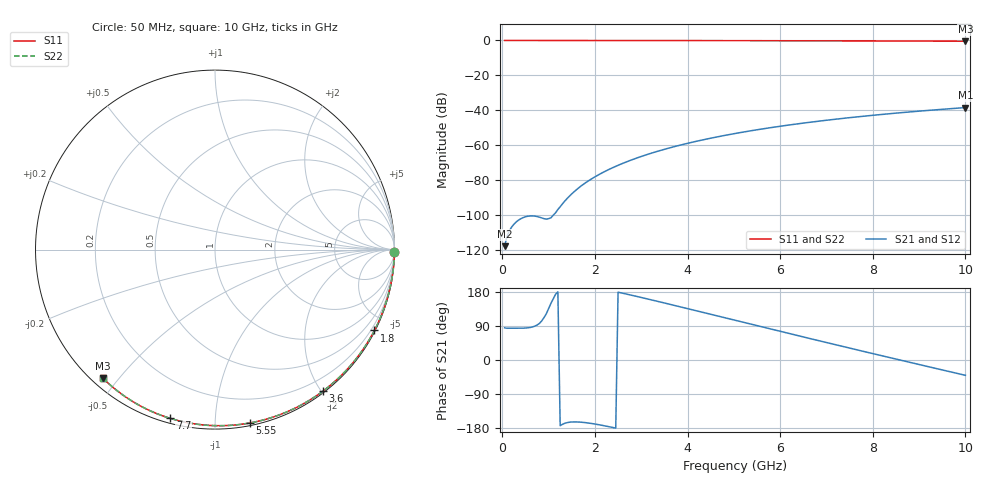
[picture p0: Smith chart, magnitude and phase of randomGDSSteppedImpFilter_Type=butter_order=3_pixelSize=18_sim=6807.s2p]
! freq	dB(S11)	phase(S11)	dB(S12)	phase(S12)
!  dB(S21)	phase(S21)	dB(S22)	phase(S22)
!S-par simulation data
#  GHz  S  DB  R 50
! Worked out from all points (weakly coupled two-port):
!   200 points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, 50 MHz to 10 GHz, reference 50 ohm
!   highest |S21| = -38.44 dB at 10 GHz (marker M1); lowest = -117.8 dB at 50 MHz (marker M2)
!   lowest |S11| = -0.4 dB at 10 GHz (marker M3), VSWR 39.19, Z = 1.54 - j22.7 ohm
!   |S11| at or under -10 dB: nowhere
!   |S22| runs from -0.4 to 0.0 dB; largest |S21 - S12| = 0
!   S11 on the Smith chart (normalised r, x): 50 MHz: open; 1.8 GHz: 0.04, -4.18; 3.6 GHz: 0.02, -2.02; 5.55 GHz: 0.02, -1.22; 7.7 GHz: 0.02, -0.77; 10 GHz: 0.03, -0.45
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0.05  -0.00 -0.8  -117.76 84.9  -117.76 84.9  -0.00 -0.8
0.9  -0.02 -13.6  -102.01 111.8  -102.01 111.8  -0.02 -13.6
1.75  -0.03 -26.2  -82.36 -164.7  -82.36 -164.7  -0.03 -26.2
1.8  -0.03 -26.9  -81.43 -165.3  -81.43 -165.3  -0.03 -26.9
1.85  -0.04 -27.6  -80.54 -166.1  -80.54 -166.1  -0.04 -27.6
1.9  -0.04 -28.3  -79.68 -167.0  -79.68 -167.0  -0.04 -28.3
2.05  -0.04 -30.5  -77.31 -170.0  -77.31 -170.0  -0.04 -30.5
2.25  -0.04 -33.4  -74.51 -174.7  -74.51 -174.7  -0.04 -33.4
2.45  -0.05 -36.3  -72.04 -179.7  -72.04 -179.7  -0.05 -36.3
2.65  -0.05 -39.2  -69.82 174.9  -69.82 174.9  -0.05 -39.2
3  -0.06 -44.2  -66.41 165.1  -66.41 165.1  -0.06 -44.2
3.4  -0.07 -49.8  -63.07 153.4  -63.07 153.4  -0.07 -49.8
3.6  -0.07 -52.6  -61.58 147.5  -61.58 147.5  -0.07 -52.6
4.3  -0.09 -62.1  -57.07 126.7  -57.07 126.7  -0.09 -62.1
5.05  -0.11 -72.1  -53.15 104.1  -53.15 104.1  -0.11 -72.1
5.55  -0.13 -78.5  -50.91 89.1  -50.91 89.1  -0.13 -78.5
6.1  -0.15 -85.5  -48.74 72.7  -48.74 72.7  -0.15 -85.5
6.7  -0.18 -92.9  -46.63 54.9  -46.63 54.9  -0.18 -92.9
7.7  -0.24 -104.9  -43.63 25.6  -43.63 25.6  -0.24 -104.9
8.35  -0.29 -112.4  -41.96 6.8  -41.96 6.8  -0.29 -112.4
9.15  -0.36 -121.6  -40.14 -16.2  -40.14 -16.2  -0.36 -121.6
10  -0.44 -131.2  -38.44 -40.4  -38.44 -40.4  -0.44 -131.2
